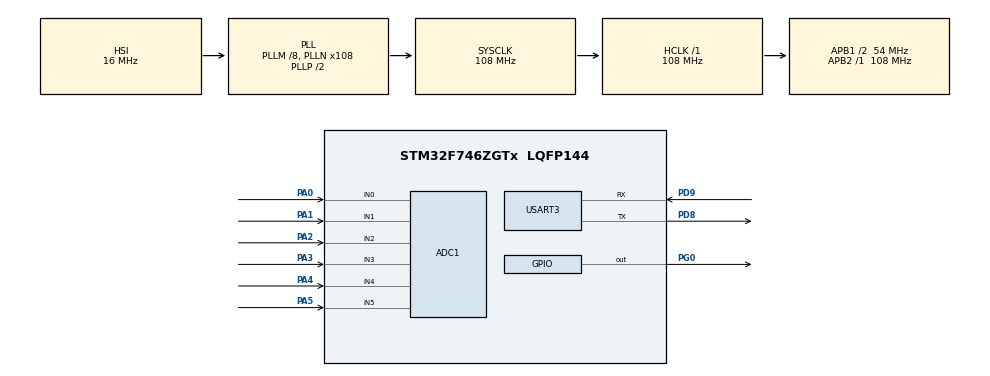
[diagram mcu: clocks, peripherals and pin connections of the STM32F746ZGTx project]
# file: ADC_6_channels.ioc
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ADC1.Channel-0\#ChannelRegularConversion=ADC_CHANNEL_0
ADC1.Channel-1\#ChannelRegularConversion=ADC_CHANNEL_1
ADC1.Channel-2\#ChannelRegularConversion=ADC_CHANNEL_2
ADC1.Channel-3\#ChannelRegularConversion=ADC_CHANNEL_3
ADC1.Channel-4\#ChannelRegularConversion=ADC_CHANNEL_4
ADC1.Channel-5\#ChannelRegularConversion=ADC_CHANNEL_5
ADC1.ClockPrescaler=ADC_CLOCK_SYNC_PCLK_DIV8
ADC1.ContinuousConvMode=ENABLE
ADC1.NbrOfConversion=6
ADC1.NbrOfConversionFlag=1
ADC1.Rank-0\#ChannelRegularConversion=1
ADC1.Rank-1\#ChannelRegularConversion=2
ADC1.Rank-2\#ChannelRegularConversion=3
ADC1.Rank-3\#ChannelRegularConversion=4
ADC1.Rank-4\#ChannelRegularConversion=5
ADC1.Rank-5\#ChannelRegularConversion=6
ADC1.SamplingTime-0\#ChannelRegularConversion=ADC_SAMPLETIME_15CYCLES
ADC1.SamplingTime-1\#ChannelRegularConversion=ADC_SAMPLETIME_15CYCLES
ADC1.SamplingTime-2\#ChannelRegularConversion=ADC_SAMPLETIME_15CYCLES
ADC1.SamplingTime-3\#ChannelRegularConversion=ADC_SAMPLETIME_15CYCLES
ADC1.SamplingTime-4\#ChannelRegularConversion=ADC_SAMPLETIME_15CYCLES
ADC1.SamplingTime-5\#ChannelRegularConversion=ADC_SAMPLETIME_15CYCLES
ADC1.ScanConvMode=ADC_SCAN_ENABLE
ADC1.master=1
CORTEX_M7.default_mode_Activation=1
Mcu.Family=STM32F7
Mcu.Name=STM32F746ZGTx
Mcu.Package=LQFP144
NVIC.PriorityGroup=NVIC_PRIORITYGROUP_4
PA0/WKUP.Signal=ADCx_IN0
PA1.Signal=ADCx_IN1
PA2.Signal=ADCx_IN2
PA3.Signal=ADCx_IN3
PA4.Signal=ADCx_IN4
PA5.Signal=ADCx_IN5
PD8.Mode=Asynchronous
PD8.Signal=USART3_TX
PD9.Mode=Asynchronous
PD9.Signal=USART3_RX
PG0.Signal=GPIO_Output
ProjectManager.HeapSize=0x200
ProjectManager.StackSize=0x400
ProjectManager.TargetToolchain=CMake
RCC.AHBFreq_Value=108000000
RCC.APB1CLKDivider=RCC_HCLK_DIV2
RCC.APB1Freq_Value=54000000
RCC.APB1TimFreq_Value=108000000
RCC.APB2Freq_Value=108000000
RCC.APB2TimFreq_Value=108000000
RCC.CortexFreq_Value=108000000
RCC.HCLKFreq_Value=108000000
RCC.HSE_VALUE=25000000
RCC.HSI_VALUE=16000000
RCC.LSE_VALUE=32768
RCC.PLLM=8
RCC.PLLN=108
RCC.SYSCLKFreq_VALUE=108000000
RCC.SYSCLKSource=RCC_SYSCLKSOURCE_PLLCLK
RCC.USBFreq_Value=108000000
RCC.VCOOutputFreq_Value=216000000
SH.ADCx_IN0.0=ADC1_IN0,IN0
SH.ADCx_IN1.0=ADC1_IN1,IN1
SH.ADCx_IN2.0=ADC1_IN2,IN2
SH.ADCx_IN3.0=ADC1_IN3,IN3
SH.ADCx_IN4.0=ADC1_IN4,IN4
SH.ADCx_IN5.0=ADC1_IN5,IN5
USART3.VirtualMode-Asynchronous=VM_ASYNC
board=custom

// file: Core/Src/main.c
/* USER CODE BEGIN Header */
/**
  ******************************************************************************
  * @file           : main.c
  * @brief          : Main program body
  ******************************************************************************
  * @attention
  *
  * Copyright (c) 2025 STMicroelectronics.
  * All rights reserved.
  *
  * This software is licensed under terms that can be found in the LICENSE file
  * in the root directory of this software component.
  * If no LICENSE file comes with this software, it is provided AS-IS.
  *
  ******************************************************************************
  */
/* USER CODE END Header */
#include "main.h"
#include "adc.h"
#include "usart.h"
#include "gpio.h"

/* USER CODE BEGIN Includes */
#include "adc_conversions.h"
#include <stdio.h>
#include <string.h>

/* USER CODE END Includes */

/* USER CODE BEGIN PD */
#define ADC_CHANNEL_COUNT 6 // Assuming buffer size is 6

/* USER CODE END PD */

void SystemClock_Config(void);
static void MPU_Config(void);

int main(void)
{

  /* MPU Configuration--------------------------------------------------------*/
  MPU_Config();

  /* MCU Configuration--------------------------------------------------------*/

  /* Reset of all peripherals, Initializes the Flash interface and the Systick. */
  HAL_Init();

  /* Configure the system clock */
  SystemClock_Config();

  /* Initialize all configured peripherals */
  MX_GPIO_Init();
  MX_ADC1_Init();
  MX_USART3_UART_Init();
  /* USER CODE BEGIN 2 */
  // if (HAL_ADC_Start_DMA(&hadc1, (uint32_t*)adc_dma_buffer, 6) != HAL_OK) {
  //   Error_Handler();
  // }
  /* USER CODE END 2 */

  /* Infinite loop */
  while (1)
  {

    /* USER CODE BEGIN 3 */

    // Toggle GPIO for timing measurement
    HAL_GPIO_WritePin(GPIOG, GPIO_PIN_0, GPIO_PIN_SET);

    // Sample all 6 channels using helper function
    analogSensor_operation_all_channels(ADC_CHANNEL_COUNT);

    HAL_GPIO_WritePin(GPIOG, GPIO_PIN_0, GPIO_PIN_RESET);

    // Print all channel values over UART
    ADC_ErrorInfo_t adc_errors;
    analogSensor_getErrors(&adc_errors);

    char buf[200];
    snprintf(buf, sizeof(buf),
             "ADC: CH0=%4lu CH1=%4lu CH2=%4lu CH3=%4lu CH4=%4lu CH5=%4lu | "
             "Errors=%lu last_failed_channel=%lu\r\n",
             (unsigned long)raw_LISXXXALH[0], (unsigned long)raw_LISXXXALH[1],
             (unsigned long)raw_LISXXXALH[2], (unsigned long)raw_LISXXXALH[3],
             (unsigned long)raw_LISXXXALH[4], (unsigned long)raw_LISXXXALH[5],
             (unsigned long)adc_errors.total_errors,
             (unsigned long)adc_errors.last_failed_channel);
    HAL_UART_Transmit(&huart3, (uint8_t *)buf, strlen(buf), HAL_MAX_DELAY);

    HAL_Delay(100); // 10 Hz sampling rate
  }
  /* USER CODE END 3 */
}

void SystemClock_Config(void)
{
  RCC_OscInitTypeDef RCC_OscInitStruct = {0};
  RCC_ClkInitTypeDef RCC_ClkInitStruct = {0};

  /** Configure the main internal regulator output voltage
  */
  __HAL_RCC_PWR_CLK_ENABLE();
  __HAL_PWR_VOLTAGESCALING_CONFIG(PWR_REGULATOR_VOLTAGE_SCALE3);

  /** Initializes the RCC Oscillators according to the specified parameters
  * in the RCC_OscInitTypeDef structure.
  */
  RCC_OscInitStruct.OscillatorType = RCC_OSCILLATORTYPE_HSI;
  RCC_OscInitStruct.HSIState = RCC_HSI_ON;
  RCC_OscInitStruct.HSICalibrationValue = RCC_HSICALIBRATION_DEFAULT;
  RCC_OscInitStruct.PLL.PLLState = RCC_PLL_ON;
  RCC_OscInitStruct.PLL.PLLSource = RCC_PLLSOURCE_HSI;
  RCC_OscInitStruct.PLL.PLLM = 8;
  RCC_OscInitStruct.PLL.PLLN = 108;
  RCC_OscInitStruct.PLL.PLLP = RCC_PLLP_DIV2;
  RCC_OscInitStruct.PLL.PLLQ = 2;
  if (HAL_RCC_OscConfig(&RCC_OscInitStruct) != HAL_OK)
  {
    Error_Handler();
  }

  /** Activate the Over-Drive mode
  */
  if (HAL_PWREx_EnableOverDrive() != HAL_OK)
  {
    Error_Handler();
  }

  /** Initializes the CPU, AHB and APB buses clocks
  */
  RCC_ClkInitStruct.ClockType = RCC_CLOCKTYPE_HCLK|RCC_CLOCKTYPE_SYSCLK
                              |RCC_CLOCKTYPE_PCLK1|RCC_CLOCKTYPE_PCLK2;
  RCC_ClkInitStruct.SYSCLKSource = RCC_SYSCLKSOURCE_PLLCLK;
  RCC_ClkInitStruct.AHBCLKDivider = RCC_SYSCLK_DIV1;
  RCC_ClkInitStruct.APB1CLKDivider = RCC_HCLK_DIV2;
  RCC_ClkInitStruct.APB2CLKDivider = RCC_HCLK_DIV1;

  if (HAL_RCC_ClockConfig(&RCC_ClkInitStruct, FLASH_LATENCY_3) != HAL_OK)
  {
    Error_Handler();
  }
}

 /* MPU Configuration */

void MPU_Config(void)
{
  MPU_Region_InitTypeDef MPU_InitStruct = {0};

  /* Disables the MPU */
  HAL_MPU_Disable();

  /** Initializes and configures the Region and the memory to be protected
  */
  MPU_InitStruct.Enable = MPU_REGION_ENABLE;
  MPU_InitStruct.Number = MPU_REGION_NUMBER0;
  MPU_InitStruct.BaseAddress = 0x0;
  MPU_InitStruct.Size = MPU_REGION_SIZE_4GB;
  MPU_InitStruct.SubRegionDisable = 0x87;
  MPU_InitStruct.TypeExtField = MPU_TEX_LEVEL0;
  MPU_InitStruct.AccessPermission = MPU_REGION_NO_ACCESS;
  MPU_InitStruct.DisableExec = MPU_INSTRUCTION_ACCESS_DISABLE;
  MPU_InitStruct.IsShareable = MPU_ACCESS_SHAREABLE;
  MPU_InitStruct.IsCacheable = MPU_ACCESS_NOT_CACHEABLE;
  MPU_InitStruct.IsBufferable = MPU_ACCESS_NOT_BUFFERABLE;

  HAL_MPU_ConfigRegion(&MPU_InitStruct);
  /* Enables the MPU */
  HAL_MPU_Enable(MPU_PRIVILEGED_DEFAULT);

}

void Error_Handler(void)
{
  __disable_irq();
  while (1)
  {
  }
}
